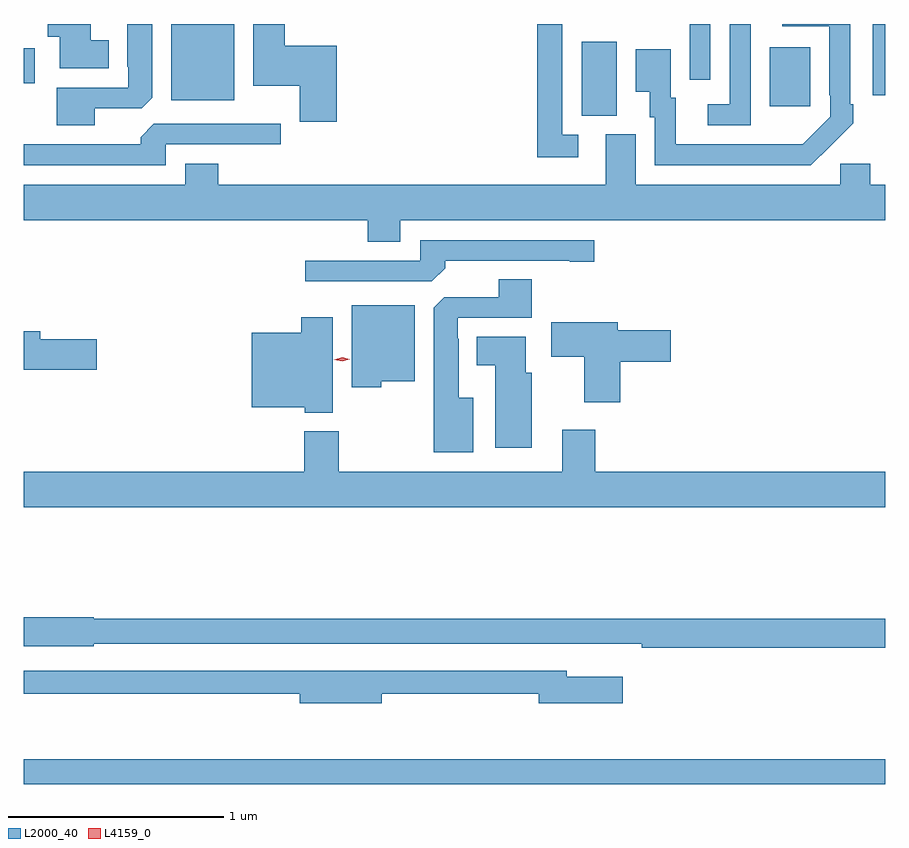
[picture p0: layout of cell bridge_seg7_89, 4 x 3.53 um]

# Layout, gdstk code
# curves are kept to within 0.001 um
import gdstk
lib = gdstk.Library(unit=1e-6, precision=1e-09)
def R(c, l, rs):  # rectangles x0, y0, x1, y1
    for r in rs: c.add(gdstk.rectangle(r[:2], r[2:], *l))
def P(c, l, *ps):  # polygons
    for p in ps: c.add(gdstk.Polygon(p, *l))
L2000_40 = (2000, 40)
L4159_0 = (4159, 0)

bridge_seg7_89 = lib.new_cell('bridge_seg7_89')
R(bridge_seg7_89, L2000_40, [(1091.578,998,1095.578,998.116), (1094.168,1001.101,1094.332,1001.444), (1095.041,1001.145,1095.229,1001.419), (1092.263,1001.174,1092.556,1001.527), (1095.519,1001.196,1095.578,1001.527), (1091.578,1001.252,1091.629,1001.415)])
P(bridge_seg7_89, L2000_40, [(1094.766,1001.522),(1094.765,1001.522),(1094.765,1001.527),(1094.67,1001.527),(1094.67,1001.268),(1094.766,1001.268)],
  [(1094.152,1001.013),(1094.079,1001.013),(1094.079,1001.527),(1093.963,1001.527),(1093.963,1000.908),(1094.152,1000.908)],
  [(1091.974,1001.452),(1091.89,1001.452),(1091.89,1001.527),(1091.69,1001.527),(1091.69,1001.468),(1091.747,1001.468),(1091.747,1001.321),(1091.974,1001.321)],
  [(1094.952,1001.515),(1094.953,1001.515),(1094.953,1001.527),(1094.856,1001.527),(1094.856,1001.154),(1094.754,1001.154),(1094.754,1001.058),(1094.952,1001.058)],
  [(1093.031,1001.425),(1092.791,1001.425),(1092.791,1001.527),(1092.644,1001.527),(1092.644,1001.24),(1092.86,1001.24),(1092.86,1001.073),(1093.031,1001.073)],
  [(1091.908,1001.136),(1092.126,1001.136),(1092.175,1001.185),(1092.175,1001.527),(1092.059,1001.527),(1092.059,1001.329),(1092.063,1001.329),(1092.063,1001.232),(1091.732,1001.232),(1091.732,1001.057),(1091.908,1001.057)],
  [(1095.323,1000.963),(1095.324,1000.962),(1095.429,1001.067),(1095.429,1001.155),(1095.414,1001.155),(1095.414,1001.527),(1095.099,1001.527),(1095.099,1001.517),(1095.318,1001.517),(1095.318,1001.197),(1095.321,1001.197),(1095.321,1001.097),(1095.193,1000.969),(1094.605,1000.968),(1094.605,1001.184),(1094.581,1001.184),(1094.581,1001.41),(1094.42,1001.41),(1094.42,1001.213),(1094.483,1001.213),(1094.483,1001.094),(1094.508,1001.094),(1094.508,1000.872),(1095.232,1000.872)],
  [(1092.237,1000.968),(1092.772,1000.968),(1092.772,1001.064),(1092.183,1001.064),(1092.122,1001.002),(1092.122,1000.968),(1091.578,1000.968),(1091.578,1000.872),(1092.237,1000.872)],
  [(1093.327,1000.616),(1095.578,1000.616),(1095.578,1000.78),(1095.508,1000.78),(1095.508,1000.878),(1095.369,1000.878),(1095.369,1000.78),(1094.419,1000.78),(1094.419,1001.016),(1094.279,1001.016),(1094.279,1000.78),(1092.482,1000.78),(1092.482,1000.879),(1092.329,1000.879),(1092.329,1000.78),(1091.578,1000.78),(1091.578,1000.616),(1093.175,1000.616),(1093.175,1000.517),(1093.327,1000.517)],
  [(1093.535,1000.394),(1093.535,1000.428),(1094.114,1000.428),(1094.114,1000.423),(1094.227,1000.423),(1094.227,1000.524),(1093.419,1000.524),(1093.419,1000.428),(1092.885,1000.428),(1092.885,1000.332),(1093.473,1000.332)],
  [(1093.666,999.793),(1093.597,999.793),(1093.597,1000.067),(1093.593,1000.067),(1093.593,1000.164),(1093.937,1000.164),(1093.937,1000.343),(1093.784,1000.343),(1093.784,1000.26),(1093.53,1000.26),(1093.481,1000.211),(1093.481,999.539),(1093.666,999.539)],
  [(1093.239,999.869),(1093.393,999.869),(1093.393,1000.222),(1093.1,1000.222),(1093.1,999.842),(1093.239,999.842)],
  [(1093.012,1000.165),(1092.866,1000.165),(1092.866,1000.093),(1092.638,1000.093),(1092.638,999.749),(1092.882,999.749),(1092.882,999.722),(1093.012,999.722)],
  [(1094.348,999.959),(1094.581,999.959),(1094.581,1000.106),(1094.335,1000.106),(1094.335,1000.144),(1094.028,1000.144),(1094.028,999.982),(1094.18,999.982),(1094.18,999.771),(1094.348,999.771)],
  [(1091.917,1000.064),(1091.656,1000.064),(1091.656,1000.1),(1091.578,1000.1),(1091.578,999.922),(1091.917,999.922)],
  [(1093.936,999.909),(1093.909,999.909),(1093.909,1000.075),(1093.682,1000.075),(1093.682,999.944),(1093.766,999.944),(1093.766,999.561),(1093.936,999.561)],
  [(1095.578,999.448),(1094.231,999.448),(1094.231,999.643),(1094.078,999.643),(1094.078,999.448),(1093.041,999.448),(1093.041,999.637),(1092.881,999.637),(1092.881,999.448),(1091.578,999.448),(1091.578,999.284),(1095.578,999.284)],
  [(1095.578,998.768),(1091.904,998.768),(1091.904,998.774),(1091.578,998.774),(1091.578,998.639),(1091.904,998.639),(1091.904,998.652),(1094.194,998.652),(1094.194,998.651),(1094.446,998.651),(1094.446,998.632),(1095.578,998.632)],
  [(1093.24,998.418),(1093.97,998.418),(1093.97,998.375),(1094.359,998.375),(1094.359,998.497),(1094.098,998.497),(1094.098,998.526),(1091.578,998.526),(1091.578,998.418),(1092.86,998.418),(1092.86,998.375),(1093.24,998.375)])
P(bridge_seg7_89, L4159_0, [(1093.056,999.961),(1093.02,999.97),(1093.02,999.97),(1093.02,999.97),(1093.056,999.981),(1093.093,999.971),(1093.093,999.971),(1093.093,999.971)])

lib.write_gds('bridge_seg7_89.gds')
